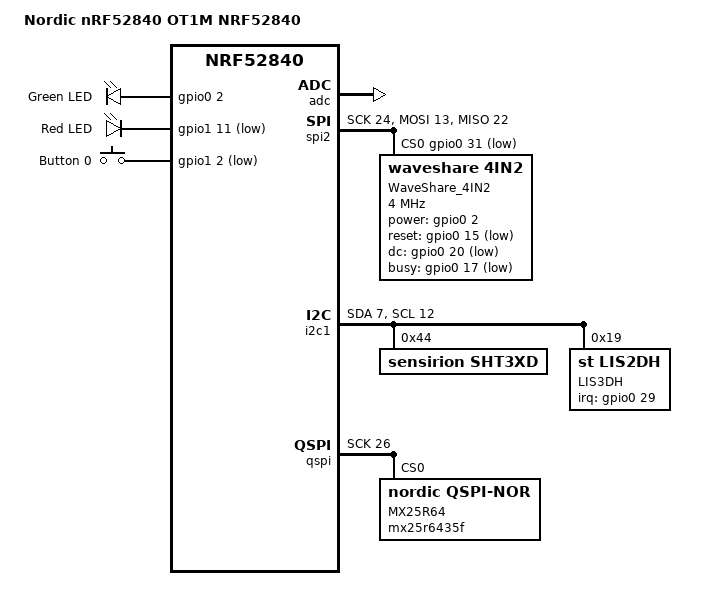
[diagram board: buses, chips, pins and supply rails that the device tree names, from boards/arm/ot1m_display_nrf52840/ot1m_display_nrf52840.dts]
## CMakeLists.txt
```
add_subdirectory(lib)
add_subdirectory(drivers)
zephyr_include_directories(include)
```

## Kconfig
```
menu "OT1M"

config BOARD_NRF52840OT1M_NRF52840
	bool

config APP_MANUFACTURER
    string "app manufacturer"
    default "OT1M"

config APP_MODEL_NUMBER
    string "app model number"
    default "OT1M"

config APP_FIRMWARE_VER
    string "app firmware version"
    default "1.0.0"

config APP_HW_VER
    string "app hardware version"
    default "1.0"

config APP_OPENTHREAD_JOINER_PSKD
    string "app openthread joiner pskd"
    default "J01NME"

endmenu

rsource "lib/Kconfig"
rsource "drivers/Kconfig"
```

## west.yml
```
manifest:
  version: "0.10"
  remotes:
    - name: nrfconnect
      url-base: https://github.com/nrfconnect
    - name: zephyrproject-rtos
      url-base: https://github.com/zephyrproject-rtos

  projects:
    - name: zephyr
      repo-path: zephyr
      remote: zephyrproject-rtos
      revision: v2.7.1
      import: true
  self:
    path: ot1m
```

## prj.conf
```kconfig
# 通用配置
CONFIG_GPIO=y
CONFIG_CONSOLE=n
CONFIG_SHELL_BACKENDS=n
CONFIG_UART_CONSOLE=n

CONFIG_ASSERT=y
CONFIG_LOG=y

CONFIG_POLL=y
CONFIG_REBOOT=y
CONFIG_LOG_BACKEND_UART=n
CONFIG_LOG_BACKEND_RTT=y
CONFIG_LOG_DEFAULT_LEVEL=3
CONFIG_HEAP_MEM_POOL_SIZE=32768
CONFIG_RING_BUFFER=y

CONFIG_SETTINGS=y
CONFIG_NVS=y
CONFIG_SETTINGS_NVS=y
CONFIG_SYS_POWER_MANAGEMENT=y
CONFIG_DEVICE_POWER_MANAGEMENT=y

# Kernel options
CONFIG_MAIN_STACK_SIZE=2048
CONFIG_ENTROPY_GENERATOR=y
CONFIG_TEST_RANDOM_GENERATOR=y
CONFIG_INIT_STACKS=y

CONFIG_NEWLIB_LIBC=y

# Generic networking options
CONFIG_NETWORKING=y
CONFIG_NET_UDP=y
CONFIG_NET_TCP=n
CONFIG_NET_IPV6=y
CONFIG_NET_IPV4=n
CONFIG_NET_SOCKETS=y
CONFIG_NET_SOCKETS_POSIX_NAMES=y
CONFIG_NET_SOCKETS_POLL_MAX=4
CONFIG_NET_CONNECTION_MANAGER=y

# Kernel options
CONFIG_MAIN_STACK_SIZE=2048
CONFIG_ENTROPY_GENERATOR=y
CONFIG_TEST_RANDOM_GENERATOR=y
CONFIG_INIT_STACKS=y

# Logging
CONFIG_NET_LOG=y
CONFIG_LOG_STRDUP_BUF_COUNT=10
CONFIG_NET_STATISTICS=y
CONFIG_PRINTK=y

# Network buffers
CONFIG_NET_PKT_RX_COUNT=16
CONFIG_NET_PKT_TX_COUNT=16
CONFIG_NET_BUF_RX_COUNT=80
CONFIG_NET_BUF_TX_COUNT=80
CONFIG_NET_CONTEXT_NET_PKT_POOL=y

# IP address options
CONFIG_NET_IF_UNICAST_IPV6_ADDR_COUNT=3
CONFIG_NET_IF_MCAST_IPV6_ADDR_COUNT=4
CONFIG_NET_MAX_CONTEXTS=10

# Network shell
CONFIG_NET_SHELL=n

# The addresses are selected so that qemu<->qemu connectivity works ok.
# For linux<->qemu connectivity, create a new conf file and swap the
# addresses (so that peer address is ending to 2).
CONFIG_NET_CONFIG_SETTINGS=y
CONFIG_NET_CONFIG_NEED_IPV6=y

CONFIG_NEWLIB_LIBC=y

CONFIG_NET_IPV6_NBR_CACHE=n
CONFIG_NET_IPV6_MLD=n
CONFIG_NET_CONFIG_NEED_IPV4=n

CONFIG_SYSTEM_WORKQUEUE_STACK_SIZE=2048
CONFIG_SHELL_STACK_SIZE=3072

CONFIG_NET_L2_OPENTHREAD=y

CONFIG_OPENTHREAD_DEBUG=y
CONFIG_OPENTHREAD_L2_DEBUG=y
CONFIG_OPENTHREAD_L2_LOG_LEVEL_INF=y
# CONFIG_OPENTHREAD_L2_LOG_LEVEL_DBG=y
CONFIG_OPENTHREAD_CHANNEL=26

# mbedTLS tweaks
CONFIG_MBEDTLS_SSL_MAX_CONTENT_LEN=768

# A sample configuration to enable Thread Joiner, uncomment if needed
CONFIG_OPENTHREAD_JOINER=y
#CONFIG_OPENTHREAD_JOINER_AUTOSTART=y

# Enable diagnostic module, uncomment if needed
#CONFIG_OPENTHREAD_DIAG=yAPP_MAX_COAP_MSG_LEN

CONFIG_OPENTHREAD_MANUAL_START=y
CONFIG_OPENTHREAD_SHELL=n
CONFIG_OPENTHREAD_SLAAC=y
CONFIG_OPENTHREAD_MTD=y
CONFIG_SNTP=y
```

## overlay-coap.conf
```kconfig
CONFIG_APP_COAP=y

CONFIG_COAP=y
CONFIG_APP_COAP_MAX_URI_LEN=128
CONFIG_APP_MAX_COAP_MSG_LEN=512
```

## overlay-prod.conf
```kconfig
CONFIG_ASSERT=n
CONFIG_LOG=n
CONFIG_NET_LOG=n
CONFIG_APP_MODEM_EN_PIN=y
```

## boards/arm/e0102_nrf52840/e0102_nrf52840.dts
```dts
/*
 *
 * SPDX-License-Identifier: Apache-2.0
 */

/dts-v1/;
#include <nordic/nrf52840_qiaa.dtsi>

/ {
	model = "Nordic E0102 NRF52840";
	compatible = "nordic,e0102-nrf52840";

	chosen {
		zephyr,console = &uart0;
		zephyr,sram = &sram0;
		zephyr,flash = &flash0;
		zephyr,code-partition = &slot0_partition;
	};
	leds {
		compatible = "gpio-leds";
		led0: led_0 {
			gpios = <&gpio0 3 GPIO_ACTIVE_LOW>;
			label = "Green LED 0";
		};
//		led1: led_1 {
//			gpios = <&gpio1 13 GPIO_ACTIVE_LOW>;
//			label = "Green LED 1";
//		};
	};

	pwmleds {
		compatible = "pwm-leds";
		pwm_led0: pwm_led_0 {
			pwms = <&pwm0 3>;
		};
	};

	buttons {
		compatible = "gpio-keys";
//		button0: button_0 {
//			gpios = <&gpio1 6 (GPIO_PULL_UP | GPIO_ACTIVE_LOW)>;
//			label = "Push button switch 0";
//		};
		button1: button_1 {
			gpios = <&gpio1 4 (GPIO_PULL_UP | GPIO_ACTIVE_LOW)>;
			label = "Push button switch 1";
		};
		button2: button_2 {
			gpios = <&gpio1 2 (GPIO_PULL_UP | GPIO_ACTIVE_LOW)>;
			label = "Push button switch 2";
		};
		button3: button_3 {
			gpios = <&gpio1 11 (GPIO_PULL_UP | GPIO_ACTIVE_LOW)>;
			label = "Push button switch 3";
		};
		button4: button_4 {
			gpios = <&gpio1 10 (GPIO_PULL_UP | GPIO_ACTIVE_LOW)>;
			label = "Push button switch 4";
		};
	};

};

&gpio0 {
	status = "okay";
};

&gpio1 {
    status = "okay";
};


//&uart0 {
//	compatible = "nordic,nrf-uart";
//	status = "okay";
//	current-speed = <115200>;
//	tx-pin = <26>;
//	rx-pin = <12>;
//};

&flash0 {
	/*
	 * For more information, see:
	 * http://docs.zephyrproject.org/latest/guides/dts/index.html#flash-partitions
	 */
	partitions {
		compatible = "fixed-partitions";
		#address-cells = <1>;
		#size-cells = <1>;

		boot_partition: partition@0 {
			label = "mcuboot";
			reg = <0x000000000 0x00010000>;
		};
		slot0_partition: partition@10000 {
			label = "image-0";
			reg = <0x00010000 0x00065000>;
		};
		slot1_partition: partition@75000 {
			label = "image-1";
			reg = <0x00075000 0x00065000>;
		};
		scratch_partition: partition@da000 {
			label = "image-scratch";
			reg = <0x000da000 0x0001e000>;
		};

		/*
		 * The flash starting at 0x000f8000 and ending at
		 * 0x000fffff is reserved for use by the application.
		 */

		/*
		 * Storage partition will be used by FCB/LittleFS/NVS
		 * if enabled.
		 */
		storage_partition: partition@f8000 {
			label = "storage";
			reg = <0x000f8000 0x00008000>;
		};
	};
};

&spi0 {
	compatible = "nordic,nrf-spi";
	status = "okay";
	sck-pin = <24>;
	mosi-pin = <13>;
	miso-pin = <6>;
	cs-gpios = <&gpio0 5 GPIO_ACTIVE_LOW>;
    uc8175@0 {
		compatible = "gooddisplay,uc8175";
		label = "UC8175";
		spi-max-frequency = <400000>;
		reg = <0>;
		width = <296>;
		height = <128>;
		dc-gpios = <&gpio1 9 GPIO_ACTIVE_LOW>;
		reset-gpios = <&gpio0 30 GPIO_ACTIVE_LOW>;
		busy-gpios = <&gpio0 31 GPIO_ACTIVE_HIGH>;
		pwr = [07 07 3f 3f];
		softstart = [17 17 17 17];
		cdi = <07>;
		tcon = <0x22>;
	};
};
```

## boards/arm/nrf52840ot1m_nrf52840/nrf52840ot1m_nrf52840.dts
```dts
/*
 *
 * SPDX-License-Identifier: Apache-2.0
 */

/dts-v1/;
#include <nordic/nrf52840_qiaa.dtsi>

/ {
	model = "Nordic nRF52840 OT1M NRF52840";
	compatible = "nordic,nrf52840-ot1m-nrf52840";

	chosen {
		zephyr,console = &uart0;
		zephyr,sram = &sram0;
		zephyr,flash = &flash0;
		zephyr,code-partition = &slot0_partition;
	};

	buttons {
		compatible = "gpio-keys";
		button0: button_0 {
			gpios = <&gpio0 8 (GPIO_PULL_UP | GPIO_ACTIVE_LOW)>;
			label = "en pin";
		};
	};

	/* These aliases are provided for compatibility with samples */
	aliases {
		btnen = &button0;
	};
};

&gpio0 {
	status = "okay";
};

&gpiote {
	status = "okay";
};

&uart0 {
	compatible = "nordic,nrf-uart";
	status = "okay";
	current-speed = <115200>;
	tx-pin = <26>;
	rx-pin = <12>;
};

&flash0 {
	/*
	 * For more information, see:
	 * http://docs.zephyrproject.org/latest/guides/dts/index.html#flash-partitions
	 */
	partitions {
		compatible = "fixed-partitions";
		#address-cells = <1>;
		#size-cells = <1>;

		boot_partition: partition@0 {
			label = "mcuboot";
			reg = <0x000000000 0x00010000>;
		};
		slot0_partition: partition@10000 {
			label = "image-0";
			reg = <0x00010000 0x00065000>;
		};
		slot1_partition: partition@75000 {
			label = "image-1";
			reg = <0x00075000 0x00065000>;
		};
		scratch_partition: partition@da000 {
			label = "image-scratch";
			reg = <0x000da000 0x0001e000>;
		};

		/*
		 * The flash starting at 0x000f8000 and ending at
		 * 0x000fffff is reserved for use by the application.
		 */

		/*
		 * Storage partition will be used by FCB/LittleFS/NVS
		 * if enabled.
		 */
		storage_partition: partition@f8000 {
			label = "storage";
			reg = <0x000f8000 0x00008000>;
		};
	};
};
```

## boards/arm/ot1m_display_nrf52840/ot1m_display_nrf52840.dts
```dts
/*
 *
 * SPDX-License-Identifier: Apache-2.0
 */

/dts-v1/;
#include <nordic/nrf52840_qiaa.dtsi>

/ {
	model = "Nordic nRF52840 OT1M NRF52840";
	compatible = "nordic,nrf52840-ot1m-nrf52840";

	chosen {
		zephyr,console = &uart0;
		zephyr,sram = &sram0;
		zephyr,flash = &flash0;
		zephyr,code-partition = &slot0_partition;
	};

	leds {
		compatible = "gpio-leds";
		led0: led_0 {
			gpios = <&gpio0 2 GPIO_ACTIVE_HIGH>;
			label = "Green LED";
		};
		led1: led_1 {
            gpios = <&gpio1 11 GPIO_ACTIVE_LOW>;
            label = "Red LED";
        };
	};
	buttons {
        compatible = "gpio-keys";
        button0: button_0 {
            gpios = <&gpio1 2 (GPIO_PULL_UP | GPIO_ACTIVE_LOW)>;
            label = "Button 0";
        };
    };
    aliases {
        btnapp = &button0;
    };
};

&gpio0 {
	status = "okay";
};

&gpio1 {
	status = "okay";
};

&gpiote {
	status = "okay";
};

&adc {
	status = "okay";
};

&flash0 {
	/*
	 * For more information, see:
	 * http://docs.zephyrproject.org/latest/guides/dts/index.html#flash-partitions
	 */
	partitions {
		compatible = "fixed-partitions";
		#address-cells = <1>;
		#size-cells = <1>;

		boot_partition: partition@0 {
			label = "mcuboot";
			reg = <0x000000000 0x00010000>;
		};
		slot0_partition: partition@10000 {
			label = "image-0";
			reg = <0x00010000 0x00065000>;
		};
		slot1_partition: partition@75000 {
			label = "image-1";
			reg = <0x00075000 0x00065000>;
		};
		scratch_partition: partition@da000 {
			label = "image-scratch";
			reg = <0x000da000 0x0001e000>;
		};

		/*
		 * The flash starting at 0x000f8000 and ending at
		 * 0x000fffff is reserved for use by the application.
		 */

		/*
		 * Storage partition will be used by FCB/LittleFS/NVS
		 * if enabled.
		 */
		storage_partition: partition@f8000 {
			label = "storage";
			reg = <0x000f8000 0x00008000>;
		};
	};
};

&spi2 {
	compatible = "nordic,nrf-spi";
	status = "okay";
	sck-pin = <24>;
	mosi-pin = <13>;
	miso-pin = <22>;
	cs-gpios = <&gpio0 31 GPIO_ACTIVE_LOW>;

	waveshare4in2@0 {
		compatible = "waveshare,4in2";
		label = "WaveShare_4IN2";
		spi-max-frequency = <4000000>;
		reg = <0>;
		power-gpios = <&gpio0 2 GPIO_ACTIVE_HIGH>;
		reset-gpios = <&gpio0 15 GPIO_ACTIVE_LOW>;
		dc-gpios = <&gpio0 20 GPIO_ACTIVE_LOW>;
		busy-gpios = <&gpio0 17 GPIO_ACTIVE_LOW>;
	};
};

&i2c1 {
	compatible = "nordic,nrf-twi";
	/* Cannot be used together with spi1. */
	status = "okay";
	sda-pin = <7>;
	scl-pin = <12>;
	sht3xd@44 {
		compatible = "sensirion,sht3xd";
		reg = <0x44>;
		label = "SHT3XD";
	};
	lis3dh@19 {
		compatible = "st,lis2dh", "st,lis3dh";
		reg = <0x19>;
		label = "LIS3DH";
		irq-gpios = <&gpio0 29 0>;
	};
};


&qspi {
	status = "okay";
	sck-pin = <26>;
	io-pins = <6>, <4>, <8>, <5>;
	csn-pins = <30>;
	mx25r64: mx25r6435f@0 {
		compatible = "nordic,qspi-nor";
		reg = <0>;
		/* MX24R64 supports only pp and pp4io */
		writeoc = "pp4io";
		/* MX24R64 supports all readoc options */
		readoc = "read4io";
		sck-frequency = <8000000>;
		label = "MX25R64";
		jedec-id = [ef 40 18];
		sfdp-bfp = [
			e5 20 f1 ff  ff ff ff 03  44 eb 08 6b  08 3b 04 bb
			ee ff ff ff  ff ff 00 ff  ff ff 00 ff  0c 20 0f 52
			10 d8 00 ff  23 72 f5 00  82 ed 04 cc  44 83 68 44
			30 b0 30 b0  f7 c4 d5 5c  00 be 29 ff  f0 d0 ff ff
		];
		size = <67108864>;
		has-dpd;
		t-enter-dpd = <10000>;
		t-exit-dpd = <35000>;
	};
};
```

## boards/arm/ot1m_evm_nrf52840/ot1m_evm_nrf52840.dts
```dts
/*
 *
 * SPDX-License-Identifier: Apache-2.0
 */

/dts-v1/;
#include <nordic/nrf52840_qiaa.dtsi>

/ {
	model = "Nordic nRF52840 OT1M NRF52840";
	compatible = "nordic,nrf52840-ot1m-nrf52840";

	chosen {
		zephyr,console = &uart0;
		zephyr,sram = &sram0;
		zephyr,flash = &flash0;
		zephyr,entropy = &rng;
		zephyr,code-partition = &slot0_partition;
	};

	leds {
		compatible = "gpio-leds";
		red_led: led_0 {
			gpios = <&gpio1 10 GPIO_ACTIVE_LOW>;
			label = "User D3 red";
		};
		green_led: led_1 {
			gpios = <&gpio1 11 GPIO_ACTIVE_LOW>;
			label = "User D3 green";
		};
		led3: led_3 {
			gpios = <&gpio0 16 GPIO_ACTIVE_LOW>;
			label = "Green LED 3";
		};
	};

	pwmleds {
		pwm_led3: pwm_led_3 {
			pwms = <&pwm0 16>;
		};
	};
};

&pwm0 {
	status = "okay";
	ch1-pin = <16>;
	ch1-inverted;
};

&gpio0 {
	status = "okay";
};

&gpio1 {
	status = "okay";
};

&gpiote {
	status = "okay";
};

&uart0 {
	compatible = "nordic,nrf-uart";
	status = "okay";
	current-speed = <115200>;
	tx-pin = <15>;
	rx-pin = <17>;
};

&flash0 {
	/*
	 * For more information, see:
	 * http://docs.zephyrproject.org/latest/guides/dts/index.html#flash-partitions
	 */
	partitions {
		compatible = "fixed-partitions";
		#address-cells = <1>;
		#size-cells = <1>;

		boot_partition: partition@0 {
			label = "mcuboot";
			reg = <0x000000000 0x00010000>;
		};
		slot0_partition: partition@10000 {
			label = "image-0";
			reg = <0x00010000 0x00065000>;
		};
		slot1_partition: partition@75000 {
			label = "image-1";
			reg = <0x00075000 0x00065000>;
		};
		scratch_partition: partition@da000 {
			label = "image-scratch";
			reg = <0x000da000 0x0001e000>;
		};

		/*
		 * The flash starting at 0x000f8000 and ending at
		 * 0x000fffff is reserved for use by the application.
		 */

		/*
		 * Storage partition will be used by FCB/LittleFS/NVS
		 * if enabled.
		 */
		storage_partition: partition@f8000 {
			label = "storage";
			reg = <0x000f8000 0x00008000>;
		};
	};
};
```

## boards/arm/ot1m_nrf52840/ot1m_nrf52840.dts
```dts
/*
 *
 * SPDX-License-Identifier: Apache-2.0
 */

/dts-v1/;
#include <nordic/nrf52840_qiaa.dtsi>

/ {
	model = "Nordic OT1M NRF52840";
	compatible = "nordic,ot1m-nrf52840";

	chosen {
		zephyr,console = &uart0;
		zephyr,sram = &sram0;
		zephyr,flash = &flash0;
		zephyr,entropy = &rng;
		zephyr,code-partition = &slot0_partition;
	};

    leds {
		compatible = "gpio-leds";
		led0: led_0 {
			gpios = <&gpio0 6 GPIO_ACTIVE_LOW>;
			label = "Green LED 0";
		};
	};

	buttons {
		compatible = "gpio-keys";
		button0: button_0 {
			gpios = <&gpio0 4 (GPIO_PULL_UP | GPIO_ACTIVE_LOW)>;
			label = "Push button switch 0";
		};
	};

    aliases {
		sw0 = &button0;
		led0 = &led0;
    };
};

&gpio0 {
	status = "okay";
};


&flash0 {
	partitions {
		compatible = "fixed-partitions";
		#address-cells = <1>;
		#size-cells = <1>;

		/* The size of this partition ensures that MCUBoot can be built
		 * with an RTT console, CDC ACM support, and w/o optimizations.
		 */
		boot_partition: partition@0 {
			label = "mcuboot";
			reg = <0x000000000 0x00012000>;
		};

		slot0_partition: partition@12000 {
			label = "image-0";
			reg = <0x00012000 0x000069000>;
		};
		slot1_partition: partition@7b000 {
			label = "image-1";
			reg = <0x0007b000 0x000069000>;
		};
		scratch_partition: partition@e4000 {
			label = "image-scratch";
			reg = <0x000e4000 0x00018000>;
		};
		storage_partition: partition@fc000 {
			label = "storage";
			reg = <0x000fc000 0x00004000>;
		};
	};
};
```

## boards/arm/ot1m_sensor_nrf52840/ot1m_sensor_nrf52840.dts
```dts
/*
 * Copyright (c) 2018 Nordic Semiconductor ASA
 * Copyright (c) 2017 Linaro Limited
 *
 * SPDX-License-Identifier: Apache-2.0
 */

/dts-v1/;
#include <nordic/nrf52840_qiaa.dtsi>

/ {
	model = "Nordic nRF52840 Dongle NRF52840";
	compatible = "nordic,nrf52840-ot1m-nrf52840";

	chosen {
		zephyr,console = &cdc_acm_uart0;
		zephyr,shell-uart = &cdc_acm_uart0;
		zephyr,uart-mcumgr = &cdc_acm_uart0;
		zephyr,bt-mon-uart = &cdc_acm_uart0;
		zephyr,bt-c2h-uart = &cdc_acm_uart0;
		zephyr,sram = &sram0;
		zephyr,flash = &flash0;
		zephyr,code-partition = &slot0_partition;
	};

	leds {
		compatible = "gpio-leds";
		led0_green: led_0 {
			gpios = <&gpio1 4 GPIO_ACTIVE_LOW>;
			label = "Green LED 0";
		};
		led1_red: led_1 {
			gpios = <&gpio1 6 GPIO_ACTIVE_LOW>;
			label = "Red LED 1";
		};
	};

	buttons {
		compatible = "gpio-keys";
		button0: button_0 {
			gpios = <&gpio0 7 (GPIO_PULL_UP | GPIO_ACTIVE_LOW)>;
			label = "Push button switch 0";
		};
	};

	/* These aliases are provided for compatibility with samples */
	aliases {
		sw0 = &button0;
		led0 = &led0_green;
		led1 = &led1_red;
	};
};

&gpiote {
	status = "okay";
};

&gpio0 {
	status = "okay";
};

&gpio1 {
	status = "okay";
};

zephyr_udc0: &usbd {
	compatible = "nordic,nrf-usbd";
	status = "okay";
};

&zephyr_udc0 {
	cdc_acm_uart0: cdc_acm_uart0 {
		compatible = "zephyr,cdc-acm-uart";
		label = "CDC_ACM_0";
	};
};

&flash0 {
	partitions {
		compatible = "fixed-partitions";
		#address-cells = <1>;
		#size-cells = <1>;

		/* MCUboot placed after Nordic MBR.
		 * The size of this partition ensures that MCUBoot
		 * can be built with CDC ACM support and w/o optimizations.
		 */
		boot_partition: partition@1000 {
			label = "mcuboot";
			reg = <0x00001000 0x000f000>;
		};

		slot0_partition: partition@10000 {
			label = "image-0";
			reg = <0x00010000 0x00005e000>;
		};
		slot1_partition: partition@6e000 {
			label = "image-1";
			reg = <0x006e000 0x00005e000>;
		};
		storage_partition: partition@cc000 {
			label = "storage";
			reg = <0x000cc000 0x00004000>;
		};
		scratch_partition: partition@d0000 {
			label = "image-scratch";
			reg = <0x000d0000 0x00010000>;
		};

		/* Nordic nRF5 bootloader <0xe0000 0x1c000>
		 *
		 * In addition, the last and second last flash pages
		 * are used by the nRF5 bootloader and MBR to store settings.
		 */
	};
};
```

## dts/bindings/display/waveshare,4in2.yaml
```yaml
# Copyright (c) 2018, Phytec Messtechnik GmbH
# SPDX-License-Identifier: Apache-2.0

description: WaveShare 4IN2 EPD display controller

compatible: "waveshare,4in2"

include: spi-device.yaml

properties:
  power-gpios:
    type: phandle-array
    required: true
    description: POWER pin.

      The Power enable pin of WaveShare 4IN2 EPD is active high.
      If connected directly the MCU pin should be configured
      as active high.

  reset-gpios:
    type: phandle-array
    required: true
    description: RESET pin.

      The RESET pin of WaveShare 4IN2 EPD is active low.
      If connected directly the MCU pin should be configured
      as active low.

  dc-gpios:
    type: phandle-array
    required: true
    description: DC pin.

      The DC pin of WaveShare 4IN2 EPD is active low (transmission command byte).
      If connected directly the MCU pin should be configured
      as active low.

  busy-gpios:
    type: phandle-array
    required: true
    description: BUSY pin.

      The BUSY pin of WaveShare 4IN2 EPD is active high.
      If connected directly the MCU pin should be configured
      as active high.
```

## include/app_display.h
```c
#ifndef APP_DISPLAY_H
#define APP_DISPLAY_H

#include <drivers/sensor.h>

void set_sensor(int index, struct sensor_value * sensor);

#endif //APP_DISPLAY_H
```

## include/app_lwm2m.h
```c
#ifndef OT_AT_APP_LWM2M_H
#define OT_AT_APP_LWM2M_H
#include <zephyr.h>
#include <net/net_ip.h>
#include <net/lwm2m.h>

typedef struct {
    int8_t server_addr[NET_IPV6_ADDR_LEN];
    uint8_t server_is_bootstrap;
    uint8_t enable_psk;
    int8_t psk_id[32];
    uint8_t psk_key[32];
    uint8_t psk_key_length;
} app_lwm2m_settings;

enum lwm2m_rd_client_event app_lwm2m_get_client_event(void);
int app_lwm2m_client_start(app_lwm2m_settings * lwm2m_settings);
void app_lwm2m_client_stop(void);
#endif //OT_AT_APP_LWM2M_H
```

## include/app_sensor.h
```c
#ifndef APP_SENSOR_H
#define APP_SENSOR_H

#include <drivers/sensor.h>

struct sensor_value *app_sensor_get_value(int index);
struct k_sem *app_sensor_get_sem(void);
#endif //APP_SENSOR_H
```

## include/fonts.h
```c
/**
  ******************************************************************************
  * @file    fonts.h
  * @author  MCD Application Team
  * @version V1.0.0
  * @date    18-February-2014
  * @brief   Header for fonts.c file
  ******************************************************************************
  * @attention
  *
  * <h2><center>&copy; COPYRIGHT(c) 2014 STMicroelectronics</center></h2>
  *
  * Redistribution and use in source and binary forms, with or without modification,
  * are permitted provided that the following conditions are met:
  *   1. Redistributions of source code must retain the above copyright notice,
  *      this list of conditions and the following disclaimer.
  *   2. Redistributions in binary form must reproduce the above copyright notice,
  *      this list of conditions and the following disclaimer in the documentation
  *      and/or other materials provided with the distribution.
  *   3. Neither the name of STMicroelectronics nor the names of its contributors
  *      may be used to endorse or promote products derived from this software
  *      without specific prior written permission.
  *
  * THIS SOFTWARE IS PROVIDED BY THE COPYRIGHT HOLDERS AND CONTRIBUTORS "AS IS"
  * AND ANY EXPRESS OR IMPLIED WARRANTIES, INCLUDING, BUT NOT LIMITED TO, THE
  * IMPLIED WARRANTIES OF MERCHANTABILITY AND FITNESS FOR A PARTICULAR PURPOSE ARE
  * DISCLAIMED. IN NO EVENT SHALL THE COPYRIGHT HOLDER OR CONTRIBUTORS BE LIABLE
  * FOR ANY DIRECT, INDIRECT, INCIDENTAL, SPECIAL, EXEMPLARY, OR CONSEQUENTIAL
  * DAMAGES (INCLUDING, BUT NOT LIMITED TO, PROCUREMENT OF SUBSTITUTE GOODS OR
  * SERVICES; LOSS OF USE, DATA, OR PROFITS; OR BUSINESS INTERRUPTION) HOWEVER
  * CAUSED AND ON ANY THEORY OF LIABILITY, WHETHER IN CONTRACT, STRICT LIABILITY,
  * OR TORT (INCLUDING NEGLIGENCE OR OTHERWISE) ARISING IN ANY WAY OUT OF THE USE
  * OF THIS SOFTWARE, EVEN IF ADVISED OF THE POSSIBILITY OF SUCH DAMAGE.
  *
  ******************************************************************************
  */

/* Define to prevent recursive inclusion -------------------------------------*/
#ifndef __FONTS_H
#define __FONTS_H

/* Max size of bitmap will based on a font24 (17x24) */
#define MAX_HEIGHT_FONT         24
#define MAX_WIDTH_FONT          17
#define OFFSET_BITMAP           54

#ifdef __cplusplus
extern "C" {
#endif

/* Includes ------------------------------------------------------------------*/
#include <stdint.h>

typedef struct _tFont
{
    const uint8_t *table;
    uint16_t Width;
    uint16_t Height;

} sFONT;

extern sFONT Font8;
extern sFONT Font24;
extern sFONT Font1632;
extern sFONT Font815;
extern sFONT FontICON;
//extern sFONT Font24Custom;
//extern sFONT Font3248Custom;

#ifdef __cplusplus
}
#endif

#endif /* __FONTS_H */


/************************ (C) COPYRIGHT STMicroelectronics *****END OF FILE****/
```

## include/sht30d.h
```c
//
// Created by yplam on 14/1/2021.
//

#ifndef COAP_SENSOR_SHT30D_H
#define COAP_SENSOR_SHT30D_H
#include <drivers/sensor.h>
void app_sht30d_init(void);
int app_sht30d_fetch(float * temp, float * hum);
int app_sht30d_fetch_sensor(struct sensor_value * temp, struct sensor_value * hum);
#endif //COAP_SENSOR_SHT30D_H
```

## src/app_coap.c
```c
#include "app_coap.h"
#include <logging/log.h>
LOG_MODULE_REGISTER(app_coap, LOG_LEVEL_INF);

#include <net/socket.h>
#include <net/udp.h>
#include <net/coap.h>
#include "app_openthread.h"

/* CoAP socket fd */
static int sock;

struct pollfd fds[1];
static int nfds=1;

static int wait(int timeout)
{
    int ret = -EINVAL;

    if (nfds <= 0) {
        return ret;
    }

    ret = poll(fds, nfds, timeout);
    if (ret < 0) {
        LOG_ERR("poll error: %d", errno);
        return -errno;
    }

    return ret;
}

static void prepare_fds(void)
{
    fds[0].fd = sock;
    fds[0].events = POLLIN;
    nfds=1;
}

static int app_coap_start_client(struct sockaddr_in6 * addr6) {
    int ret;
    sock = socket(addr6->sin6_family, SOCK_DGRAM, IPPROTO_UDP);
    if (sock < 0) {
        LOG_ERR("Failed to create UDP socket %d", errno);
        return -errno;
    }

    ret = connect(sock, (struct sockaddr *)addr6, sizeof(*addr6));
    if (ret < 0) {
        LOG_ERR("Cannot connect to UDP remote : %d", errno);
        return -errno;
    }

    prepare_fds();

    return 0;
}


static int coap_send_request(enum coap_method method, uint8_t * uri_path,
        uint8_t * payload, uint8_t type)
{
    struct coap_packet request;
    uint8_t *data;
    int ret = 0;

    data = (uint8_t *)k_malloc(CONFIG_APP_MAX_COAP_MSG_LEN);
    if (!data) {
        return -ENOMEM;
    }

    ret = coap_packet_init(&request, data, CONFIG_APP_MAX_COAP_MSG_LEN,
                           1, type, 8, coap_next_token(),
                           method, coap_next_id());
    if (ret < 0) {
        LOG_ERR("Failed to init CoAP message");
        goto end;
    }

    uint8_t *cur   = uri_path;
    uint8_t *end;
    if(cur[0] == '/'){
        cur += 1;
    }

    while ((end = strchr(cur, '/')) != 0)
    {
        ret = coap_packet_append_option(&request, COAP_OPTION_URI_PATH,
                                        cur, end - cur);
        if (ret < 0) {
            LOG_ERR("Unable add option to request");
            goto end;
        }
        cur = end + 1;
    }
    ret = coap_packet_append_option(&request, COAP_OPTION_URI_PATH,
                                    cur, strlen(cur));
    if (ret < 0) {
        LOG_ERR("Unable add option to request");
        goto end;
    }

    switch (method) {
        case COAP_METHOD_GET:
        case COAP_METHOD_DELETE:
            break;

        case COAP_METHOD_PUT:
        case COAP_METHOD_POST:
            ret = coap_packet_append_payload_marker(&request);
            if (ret < 0) {
                LOG_ERR("Unable to append payload marker");
                goto end;
            }

            ret = coap_packet_append_payload(&request, (uint8_t *)payload,
                                             strlen(payload));
            if (ret < 0) {
                LOG_ERR("Not able to append payload");
                goto end;
            }

            break;
        default:
            ret = -EINVAL;
            goto end;
    }

    LOG_HEXDUMP_INF(request.data, request.offset, "Request");

    ret = send(sock, request.data, request.offset, 0);

    end:
    k_free(data);

    return ret;
}


static int coap_wait_and_recv(app_coap_send_cb cb)
{
    uint8_t *data;
    int rcvd;
    int ret;

    ret = wait(10 * MSEC_PER_SEC);
    if(ret < 0) {
        return ret;
    }

    data = (uint8_t *)k_malloc(CONFIG_APP_MAX_COAP_MSG_LEN);
    if (!data) {
        return -ENOMEM;
    }

    rcvd = recv(sock, data, CONFIG_APP_MAX_COAP_MSG_LEN, MSG_DONTWAIT);
    if (rcvd == 0) {
        ret = -EIO;
        goto end;
    }

    if (rcvd < 0) {
        if (errno == EAGAIN || errno == EWOULDBLOCK) {
            ret = 0;
        } else {
            ret = -errno;
        }

        goto end;
    }

    LOG_HEXDUMP_INF(data, rcvd, "Response");
    if(cb){
        cb(data, rcvd);
    }

end:
    k_free(data);

    return ret;
}

int app_coap_send_request(struct sockaddr_in6 * addr6, enum coap_method method,
        uint8_t * uri_path, uint8_t * payload, uint8_t type, app_coap_send_cb cb ) {
    int ret;
    app_ot_set_power_state(OT_POWER_ACTIVE);
    ret = app_coap_start_client(addr6);
    if (ret < 0) {
        LOG_ERR("coap start error %d", ret);
        goto exit;
    }

    ret = coap_send_request(method, uri_path, payload, type);
    if (ret < 0) {
        LOG_ERR("coap send error %d", ret);
        goto exit;
    }
    if(type == COAP_TYPE_CON){
        ret = coap_wait_and_recv(cb);
        if (ret < 0) {
            LOG_ERR("coap recv error %d", ret);
            goto exit;
        }
    }

exit:
    app_ot_set_power_state(OT_POWER_SLEEPY);
    if(sock >= 0){
        (void)close(sock);
        sock = -1;
    }
    return ret;
}
```

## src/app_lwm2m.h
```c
#ifndef OT_AT_APP_LWM2M_H
#define OT_AT_APP_LWM2M_H
#include <zephyr.h>
#include <net/net_ip.h>
#include <net/lwm2m.h>

typedef struct {
    int8_t server_addr[NET_IPV6_ADDR_LEN+1];
    uint8_t server_is_bootstrap;
    uint8_t enable_psk;
    int8_t psk_id[32];
    uint8_t psk_key[32];
    uint8_t psk_key_length;
} app_lwm2m_settings;

enum lwm2m_rd_client_event app_lwm2m_get_client_event(void);
int app_lwm2m_client_start(app_lwm2m_settings * lwm2m_settings);
#endif //OT_AT_APP_LWM2M_H
```
